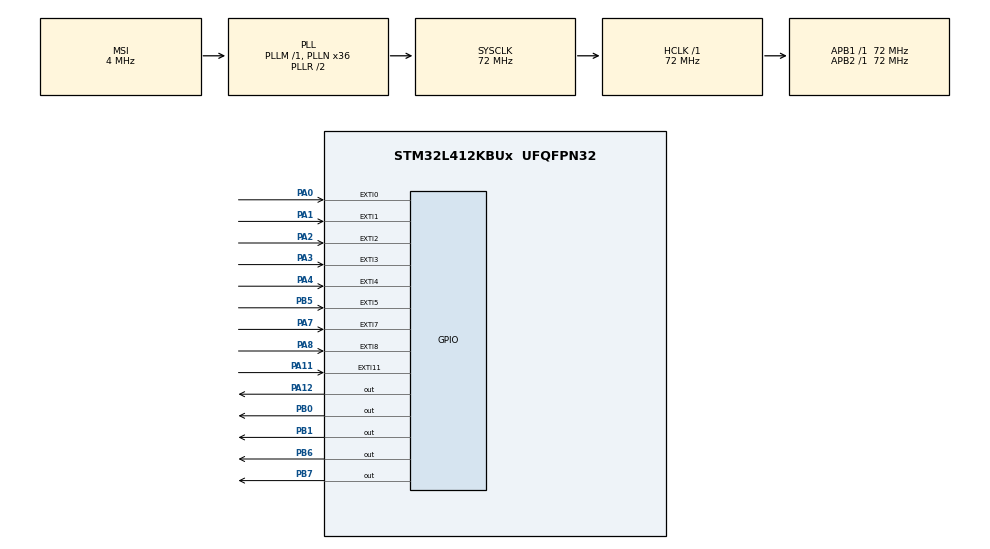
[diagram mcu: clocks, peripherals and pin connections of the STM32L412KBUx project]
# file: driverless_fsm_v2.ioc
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FREERTOS.Tasks01=defaultTask,0,128,StartDefaultTask,Default,NULL,Dynamic,NULL,NULL
Mcu.Family=STM32L4
Mcu.Name=STM32L412KBUx
Mcu.Package=UFQFPN32
NVIC.EXTI0_IRQn=true\:5\:0\:false\:false\:true\:true\:true\:true
NVIC.EXTI15_10_IRQn=true\:5\:0\:false\:false\:true\:true\:true\:true
NVIC.EXTI1_IRQn=true\:5\:0\:false\:false\:true\:true\:true\:true
NVIC.EXTI2_IRQn=true\:5\:0\:false\:false\:true\:true\:true\:true
NVIC.EXTI3_IRQn=true\:5\:0\:false\:false\:true\:true\:true\:true
NVIC.EXTI4_IRQn=true\:5\:0\:false\:false\:true\:true\:true\:true
NVIC.EXTI9_5_IRQn=true\:5\:0\:false\:false\:true\:true\:true\:true
NVIC.PriorityGroup=NVIC_PRIORITYGROUP_4
PA0-CK_IN.GPIO_ModeDefaultEXTI=GPIO_MODE_IT_RISING_FALLING
PA0-CK_IN.GPIO_PuPd=GPIO_PULLDOWN
PA0-CK_IN.Signal=GPXTI0
PA1.GPIO_ModeDefaultEXTI=GPIO_MODE_IT_RISING_FALLING
PA1.GPIO_PuPd=GPIO_PULLDOWN
PA1.Signal=GPXTI1
PA11.GPIO_ModeDefaultEXTI=GPIO_MODE_IT_RISING_FALLING
PA11.GPIO_PuPd=GPIO_PULLDOWN
PA11.Signal=GPXTI11
PA12.Signal=GPIO_Output
PA13\ (JTMS/SWDIO).Mode=Serial_Wire
PA13\ (JTMS/SWDIO).Signal=SYS_JTMS-SWDIO
PA14\ (JTCK/SWCLK).Mode=Serial_Wire
PA14\ (JTCK/SWCLK).Signal=SYS_JTCK-SWCLK
PA2.GPIO_ModeDefaultEXTI=GPIO_MODE_IT_RISING_FALLING
PA2.GPIO_PuPd=GPIO_PULLDOWN
PA2.Signal=GPXTI2
PA3.GPIO_ModeDefaultEXTI=GPIO_MODE_IT_RISING_FALLING
PA3.GPIO_PuPd=GPIO_PULLDOWN
PA3.Signal=GPXTI3
PA4.GPIO_ModeDefaultEXTI=GPIO_MODE_IT_RISING_FALLING
PA4.GPIO_PuPd=GPIO_PULLDOWN
PA4.Signal=GPXTI4
PA7.GPIO_ModeDefaultEXTI=GPIO_MODE_IT_RISING_FALLING
PA7.GPIO_PuPd=GPIO_PULLDOWN
PA7.Signal=GPXTI7
PA8.GPIO_ModeDefaultEXTI=GPIO_MODE_IT_RISING_FALLING
PA8.GPIO_PuPd=GPIO_PULLDOWN
PA8.Signal=GPXTI8
PB0.Signal=GPIO_Output
PB1.Signal=GPIO_Output
PB5.GPIO_ModeDefaultEXTI=GPIO_MODE_IT_RISING_FALLING
PB5.GPIO_PuPd=GPIO_PULLDOWN
PB5.Signal=GPXTI5
PB6.Signal=GPIO_Output
PB7.Signal=GPIO_Output
ProjectManager.HeapSize=0x200
ProjectManager.StackSize=0x400
ProjectManager.TargetToolchain=STM32CubeIDE
RCC.ADCFreq_Value=72000000
RCC.AHBFreq_Value=72000000
RCC.APB1Freq_Value=72000000
RCC.APB1TimFreq_Value=72000000
RCC.APB2Freq_Value=72000000
RCC.APB2TimFreq_Value=72000000
RCC.CortexFreq_Value=72000000
RCC.FLatency=FLASH_LATENCY_4
RCC.HCLKFreq_Value=72000000
RCC.HSE_VALUE=8000000
RCC.HSI48_VALUE=48000000
RCC.HSICalibrationValue=16
RCC.HSI_VALUE=16000000
RCC.LSE_VALUE=32768
RCC.MSI_VALUE=4000000
RCC.PLLN=36
RCC.SYSCLKFreq_VALUE=72000000
RCC.SYSCLKSource=RCC_SYSCLKSOURCE_PLLCLK
RCC.USBFreq_Value=4000000
RCC.VCOOutputFreq_Value=144000000
VP_FREERTOS_VS_CMSIS_V1.Mode=CMSIS_V1
board=NUCLEO-L412KB

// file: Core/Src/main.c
/* USER CODE BEGIN Header */
/**
  ******************************************************************************
  * @file           : main.c
  * @brief          : Main program body
  ******************************************************************************
  * @attention
  *
  * <h2><center>&copy; Copyright (c) 2021 STMicroelectronics.
  * All rights reserved.</center></h2>
  *
  * This software component is licensed by ST under BSD 3-Clause license,
  * the "License"; You may not use this file except in compliance with the
  * License. You may obtain a copy of the License at:
  *                        opensource.org/licenses/BSD-3-Clause
  *
  ******************************************************************************
  */
/* USER CODE END Header */
#include "main.h"
#include "cmsis_os.h"

/* USER CODE BEGIN Includes */
#include <stdio.h>
#include <stdlib.h>
#include "states.h"
#include "LCD16x2.h"
#include "DWT_Delay.h"
/* USER CODE END Includes */

osThreadId defaultTaskHandle;
/* USER CODE BEGIN PV */
osThreadId fsmHandle;
/* USER CODE END PV */

void SystemClock_Config(void);
static void MX_GPIO_Init(void);
void StartDefaultTask(void const * argument);

/* USER CODE BEGIN 0 */
int _write(int file, char *ptr, int len) {
  /* Implement your write code here, this is used by puts and printf for example */
  int i=0;
  for(i=0 ; i<len ; i++)
    ITM_SendChar((*ptr++));
  return len;
}
/* USER CODE END 0 */

int main(void)
{

  /* MCU Configuration--------------------------------------------------------*/

  /* Reset of all peripherals, Initializes the Flash interface and the Systick. */
  HAL_Init();

  /* Configure the system clock */
  SystemClock_Config();

  /* Initialize all configured peripherals */
  MX_GPIO_Init();
  /* USER CODE BEGIN 2 */
  LCD_Init();
  LCD_Clear();
  LCD_Set_Cursor(1, 1);
  LCD_Write_String("Hello");
  LCD_Set_Cursor(2, 1);
  LCD_Write_String("World");

  /* USER CODE END 2 */

  /* Create the thread(s) */
  /* definition and creation of defaultTask */
  osThreadDef(defaultTask, StartDefaultTask, osPriorityNormal, 0, 128);
  defaultTaskHandle = osThreadCreate(osThread(defaultTask), NULL);

  /* USER CODE BEGIN RTOS_THREADS */
  osThreadDef(as_fsm, run, osPriorityNormal, 1, 128);
  fsmHandle = osThreadCreate(osThread(as_fsm), NULL);
  /* USER CODE END RTOS_THREADS */

  /* Start scheduler */
  osKernelStart();

  /* We should never get here as control is now taken by the scheduler */
  /* Infinite loop */
  while (1)
  {

  }
}

void SystemClock_Config(void)
{
  RCC_OscInitTypeDef RCC_OscInitStruct = {0};
  RCC_ClkInitTypeDef RCC_ClkInitStruct = {0};

  /** Configure the main internal regulator output voltage
  */
  if (HAL_PWREx_ControlVoltageScaling(PWR_REGULATOR_VOLTAGE_SCALE1) != HAL_OK)
  {
    Error_Handler();
  }
  /** Initializes the RCC Oscillators according to the specified parameters
  * in the RCC_OscInitTypeDef structure.
  */
  RCC_OscInitStruct.OscillatorType = RCC_OSCILLATORTYPE_MSI;
  RCC_OscInitStruct.MSIState = RCC_MSI_ON;
  RCC_OscInitStruct.MSICalibrationValue = 0;
  RCC_OscInitStruct.MSIClockRange = RCC_MSIRANGE_6;
  RCC_OscInitStruct.PLL.PLLState = RCC_PLL_ON;
  RCC_OscInitStruct.PLL.PLLSource = RCC_PLLSOURCE_MSI;
  RCC_OscInitStruct.PLL.PLLM = 1;
  RCC_OscInitStruct.PLL.PLLN = 36;
  RCC_OscInitStruct.PLL.PLLQ = RCC_PLLQ_DIV2;
  RCC_OscInitStruct.PLL.PLLR = RCC_PLLR_DIV2;
  if (HAL_RCC_OscConfig(&RCC_OscInitStruct) != HAL_OK)
  {
    Error_Handler();
  }
  /** Initializes the CPU, AHB and APB buses clocks
  */
  RCC_ClkInitStruct.ClockType = RCC_CLOCKTYPE_HCLK|RCC_CLOCKTYPE_SYSCLK
                              |RCC_CLOCKTYPE_PCLK1|RCC_CLOCKTYPE_PCLK2;
  RCC_ClkInitStruct.SYSCLKSource = RCC_SYSCLKSOURCE_PLLCLK;
  RCC_ClkInitStruct.AHBCLKDivider = RCC_SYSCLK_DIV1;
  RCC_ClkInitStruct.APB1CLKDivider = RCC_HCLK_DIV1;
  RCC_ClkInitStruct.APB2CLKDivider = RCC_HCLK_DIV1;

  if (HAL_RCC_ClockConfig(&RCC_ClkInitStruct, FLASH_LATENCY_4) != HAL_OK)
  {
    Error_Handler();
  }
}

static void MX_GPIO_Init(void)
{
  GPIO_InitTypeDef GPIO_InitStruct = {0};

  /* GPIO Ports Clock Enable */
  __HAL_RCC_GPIOA_CLK_ENABLE();
  __HAL_RCC_GPIOB_CLK_ENABLE();

  /*Configure GPIO pin Output Level */
  HAL_GPIO_WritePin(GPIOB, GPIO_PIN_0|GPIO_PIN_1|GPIO_PIN_6|GPIO_PIN_7, GPIO_PIN_RESET);

  /*Configure GPIO pin Output Level */
  HAL_GPIO_WritePin(GPIOA, GPIO_PIN_12, GPIO_PIN_RESET);

  /*Configure GPIO pins : PA0 PA1 PA2 PA3
                           PA4 PA7 PA8 PA11 */
  GPIO_InitStruct.Pin = GPIO_PIN_0|GPIO_PIN_1|GPIO_PIN_2|GPIO_PIN_3
                          |GPIO_PIN_4|GPIO_PIN_7|GPIO_PIN_8|GPIO_PIN_11;
  GPIO_InitStruct.Mode = GPIO_MODE_IT_RISING_FALLING;
  GPIO_InitStruct.Pull = GPIO_PULLDOWN;
  HAL_GPIO_Init(GPIOA, &GPIO_InitStruct);

  /*Configure GPIO pins : PB0 PB1 PB6 PB7 */
  GPIO_InitStruct.Pin = GPIO_PIN_0|GPIO_PIN_1|GPIO_PIN_6|GPIO_PIN_7;
  GPIO_InitStruct.Mode = GPIO_MODE_OUTPUT_PP;
  GPIO_InitStruct.Pull = GPIO_NOPULL;
  GPIO_InitStruct.Speed = GPIO_SPEED_FREQ_LOW;
  HAL_GPIO_Init(GPIOB, &GPIO_InitStruct);

  /*Configure GPIO pin : PA12 */
  GPIO_InitStruct.Pin = GPIO_PIN_12;
  GPIO_InitStruct.Mode = GPIO_MODE_OUTPUT_PP;
  GPIO_InitStruct.Pull = GPIO_NOPULL;
  GPIO_InitStruct.Speed = GPIO_SPEED_FREQ_LOW;
  HAL_GPIO_Init(GPIOA, &GPIO_InitStruct);

  /*Configure GPIO pin : PB5 */
  GPIO_InitStruct.Pin = GPIO_PIN_5;
  GPIO_InitStruct.Mode = GPIO_MODE_IT_RISING_FALLING;
  GPIO_InitStruct.Pull = GPIO_PULLDOWN;
  HAL_GPIO_Init(GPIOB, &GPIO_InitStruct);

  /* EXTI interrupt init*/
  HAL_NVIC_SetPriority(EXTI0_IRQn, 5, 0);
  HAL_NVIC_EnableIRQ(EXTI0_IRQn);

  HAL_NVIC_SetPriority(EXTI1_IRQn, 5, 0);
  HAL_NVIC_EnableIRQ(EXTI1_IRQn);

  HAL_NVIC_SetPriority(EXTI2_IRQn, 5, 0);
  HAL_NVIC_EnableIRQ(EXTI2_IRQn);

  HAL_NVIC_SetPriority(EXTI3_IRQn, 5, 0);
  HAL_NVIC_EnableIRQ(EXTI3_IRQn);

  HAL_NVIC_SetPriority(EXTI4_IRQn, 5, 0);
  HAL_NVIC_EnableIRQ(EXTI4_IRQn);

  HAL_NVIC_SetPriority(EXTI9_5_IRQn, 5, 0);
  HAL_NVIC_EnableIRQ(EXTI9_5_IRQn);

  HAL_NVIC_SetPriority(EXTI15_10_IRQn, 5, 0);
  HAL_NVIC_EnableIRQ(EXTI15_10_IRQn);

}

void StartDefaultTask(void const * argument)
{
  /* USER CODE BEGIN 5 */
  /* Infinite loop */
	//GPIO_PinState current_pin_s = 0;
	  for(;;)
	  {

//		  GPIO_PinState temp_pin_s = HAL_GPIO_ReadPin(GPIOA, GPIO_PIN_0);
//		  if (current_pin_s != temp_pin_s) {
//			  current_pin_s = temp_pin_s;
//			  LCD_Clear();
//			  LCD_Set_Cursor(1, 1);
//			  if (current_pin_s == 1) {
//				  LCD_Write_String("Hello_1");
//			  } else {
//				  LCD_Write_String("World_0");
//			  }
//
//		  }

		//DWT_Delay_us(1000000);
		osDelay(10000);
	  }
  /* USER CODE END 5 */
}

void Error_Handler(void)
{
  __disable_irq();
  while (1)
  {
  }
}

/************************ (C) COPYRIGHT STMicroelectronics *****END OF FILE****/
